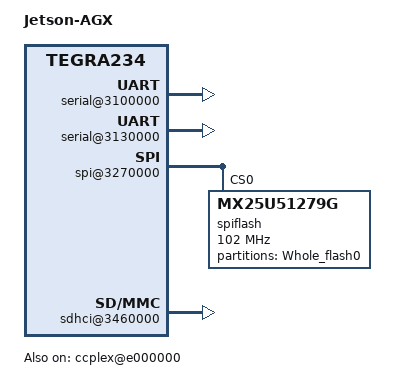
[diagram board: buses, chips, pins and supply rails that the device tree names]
/*
 * Copyright (c) 2021-2023, NVIDIA CORPORATION.  All rights reserved.
 *
 * This program is free software; you can redistribute it and/or modify it
 * under the terms and conditions of the GNU General Public License,
 * version 2, as published by the Free Software Foundation.
 *
 * This program is distributed in the hope it will be useful, but WITHOUT
 * ANY WARRANTY; without even the implied warranty of MERCHANTABILITY or
 * FITNESS FOR A PARTICULAR PURPOSE.  See the GNU General Public License for
 * more details.
 *
 * You should have received a copy of the GNU General Public License
 * along with this program.  If not, see <http://www.gnu.org/licenses/>.
 */

/*
 * T234 P3701 common DTSI file.
 */

#include <dt-bindings/types.h>
#include <tegra234-soc/tegra234-soc-cvm.dtsi>
#include "tegra234-p3701-fixed-regulator.dtsi"
#include "tegra234-p3701-power-tree.dtsi"
#include "tegra234-p3701-powermon.dtsi"
#include <t234-common-cvm/tegra234-platforms-vrs.dtsi>
#include "tegra234-thermal.dtsi"

/ {
	model = "Jetson-AGX";
	compatible = "nvidia,tegra234";

	#address-cells = <2>;
	#size-cells = <2>;

	chosen {
		bootargs ="console=ttyTCU0,115200";
		board-has-eeprom;
	};

	cpufreq {
		compatible = "nvidia,t234-cpufreq";
		status = "disabled";
		cpu_emc_map = <1907200 1600000>,
			    <1881600 800000>,
			    <1574400 665000>,
			    <1267200 408000>;
	};

	ccplex@e000000 {
		compatible = "nvidia,tegra234-ccplex-cluster";
		status = "okay";
		cpu_emc_map = <1907200 1600000>,
			    <1881600 800000>,
			    <1574400 665000>,
			    <1267200 408000>,
			    <115200 204000>;
	};

#if defined(LINUX_VERSION) && LINUX_VERSION > 414
	ccplex {
		compatible = "nvidia,t234-ccplex";
		cpu_emc_map = <1907200 1600000>,
			    <1881600 800000>,
			    <1574400 665000>,
			    <1267200 408000>,
			    <115200 204000>;
	};
#endif
	pmc@c370000 {
		nvidia,invert-interrupt;
	};

	arm-pmu {
		status = "okay";
	};

	power-domain {
		status = "okay";
	};

	interrupt-controller {
		status = "okay";
	};

	interrupt-controller@f400000 {
		status = "okay";
	};

	timer {
		status = "okay";
	};

	watchdog@2190000 {
		status = "okay";
	};

	aon-fabric@C600000 {
		status = "okay";
	};

	cbb-fabric@1300000 {
		status = "okay";
	};

	bpmp-fabric@D600000 {
		status = "okay";
	};

	dce-fabric@BE00000 {
		status = "okay";
	};

	rce-fabric@BE00000 {
		status = "okay";
	};

	sce-fabric@B600000 {
		status = "okay";
	};

	cpuidle {
		compatible = "nvidia,tegra19x-cpuidle";
		status = "okay";
	};

	thermal-zones {
		status = "disabled";
	};

	reserved-memory {
		ramoops_carveout {
			status = "okay";
		};
		grid-of-semaphores {
			status = "okay";
		};
		vpr-carveout {
			status = "disabled";
		};
	};

        tegra-cache {
                status = "okay";
        };

	serial@3100000 {
		status = "okay";
	};

        mc {
                status = "okay";
                /delete-property/ ranges;
                /delete-node/ mssnvlink@1f20000;
        };

        mc-hwpm {
                status = "okay";
        };

        mc_sid@2c00000 {
                status = "okay";
        };

        iommu@12000000 {
                status = "okay";
        };

        iommu@10000000 {
                status = "okay";
        };

        iommu@8000000 {
                status = "okay";
        };

	serial@3130000 {
		status = "okay";
	};

	serial@3140000 {
		status = "disabled";
	};

	combined-uart {
		compatible = "nvidia,tegra194-tcu";
		console-port;
		combined-uart;
		status = "okay";
	};

	pwm@c340000 {
		status = "disabled";
	};

	rtcpu@bc00000 {
		status = "okay";
	};

	eeprom-manager {
		data-size = <0x100>;
		bus@0 {
			i2c-bus = <&gen1_i2c>;
			eeprom@0 {
				slave-address = <0x50>;
				label = "cvm";
			};
		};
	};

	nvpmodel {
		status = "okay";
	};

	soctherm-oc-event {
		status = "okay";
	};

	display@13800000 {
		status = "disabled";
	};

	/* QSPI flash MX25U51279 is controlled by qspi0 */
	spi@3270000 {
		spi-max-frequency = <102000000>;
		status = "okay";
		prod-settings {
			#prod-cells = <3>;
			prod {
				prod = <0x04 0x000000ff 0x10>;
			};
			/delete-node/ prod_c_nonsecure;
			/delete-node/ prod_c_nopwrsave;
			/delete-node/ prod_c_secure;
			/delete-node/ prod_c_pwrsave;
		};
		/* QSPI NOR */
		spiflash@0 {
			#address-cells = <1>;
			#size-cells = <1>;
			compatible = "MX25U51279G";
			reg = <0>;
			spi-max-frequency = <102000000>;
			partition@0 {
				label = "Whole_flash0";
				reg = <0x00000000 0x4000000>;	/* size of QSPI-NOR 64MB == 512Mb */
			};
			controller-data {
				nvidia,x1-len-limit = <16>;
				nvidia,x1-bus-speed = <102000000>; /* In Mhz */
				nvidia,x1-dymmy-cycle = <8>;
				nvidia,x4-bus-speed = <102000000>;
				nvidia,x4-dymmy-cycle = <8>;
				nvidia,x4-is-ddr=<0>;
				nvidia,ctrl-bus-clk-ratio = <1>;
			};
		};
	};

	sdhci@3460000 {
                uhs-mask = <0x0>;
		no-sdio;
		no-sd;
		supports-cqe;
		status = "okay";
	};

	gpio@2200000 {
                status = "okay";
        };

	gpio@c2f0000 {
                status = "okay";
        };

	pinmux@2430000 {
		status = "okay";
	};

        host1x@13e00000 {
                status = "okay";
        };

        tegra-hsp@c150000 {
                status = "okay";
        };

        tegra-hsp@3c00000 {
                status = "okay";
        };

        tegra-hsp@b950000 {
                status = "okay";
        };

        chipid@100000 {
                status = "okay";
        };

	ldpc-enc {
                status = "disabled";
        };

	efuse@3810000 {
		status = "okay";
	};

	efuse-burn {
		status = "okay";
	};

	rtc@c2a0000 {
		status = "okay";
	};

	nvrng@3ae0000 {
		status = "okay";
	};

	tachometer@39c0000 {
		status = "okay";
	};

	bpmp {
		status = "okay";
	};

	pmc@c360000 {
#if TEGRA_PMC_VERSION >= DT_VERSION_2
		nvidia,invert-interrupt;
#endif
		iopad-defaults {
			sdmmc-io-pads {
				pins = "sdmmc1-hv", "sdmmc3-hv";
				nvidia,enable-voltage-switching;
			};
		};
	};

#if TEGRA_PMC_VERSION < DT_VERSION_2
	pmc@c370000 {
		nvidia,invert-interrupt;
	};
#endif

	actmon@d230000 {
		status = "disabled";
		mc_all {
			status = "disabled";
		};
	};
};
